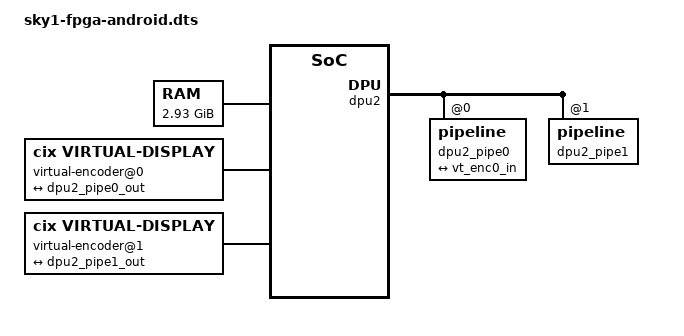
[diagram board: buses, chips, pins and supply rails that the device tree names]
/*
 * Copyright (c) 2022, Cix Technology Group Co., Ltd. All rights reserved.
 *
 * SPDX-License-Identifier: BSD-3-Clause
 */

#include "sky1-fpga.dts"
#include "sky1-android-common.dtsi"

/ {
	chosen {
		rng-seed = "cix random seed dasdasasdasdasvvjkdvsdvnkksdvfsdjfskdfsdfksdfsdhfsckscjscksdfjsdjf";
	};

	memory@80000000 {
		#address-cells = <2>;
		#size-cells = <2>;
		device_type = "memory";
		reg = <0x00000000 0x84400000 0x0 0x7BC00000>,
			<0x00000001 0x00000000 0x0 0x40000000>;
	};

	/delete-node/ virtual-encoder@0;

	virtual-encoder@0 {
		compatible = "cix,virtual-display";
		status = "okay";

		port {
			vt_enc0_in: endpoint {
				remote-endpoint = <&dpu2_pipe0_out>;
			};
		};
	};

	virtual-encoder@1 {
		compatible = "cix,virtual-display";
		status = "okay";

		port {
			vt_enc1_in: endpoint {
				remote-endpoint = <&dpu2_pipe1_out>;
			};
		};
	};
};

&dp2 {
	status = "disbaled";
	/delete-node/ port;
};

&aipu_res_0 {
        status = "disabled";
};

&dpu2 {
	status = "okay";

	dpu2_pipe0: pipeline@0 {
		reg = <0>;

		port {
			dpu2_pipe0_out: endpoint {
				remote-endpoint = <&vt_enc0_in>;
			};
		};
	};

	dpu2_pipe1: pipeline@1 {
		reg = <1>;

		port {
			dpu2_pipe1_out: endpoint {
			};
		};
	};
};

&arch_timer {
        clock-frequency = <1000000000>;
};

&smmu_mmhub{
	status = "okay";
};

&sky1_usbss_0 {
        lpm_clk_freq = <4000000>;
        sof_clk_freq = <4000000>;
        status = "disabled";
};

&usbss_0 {
        dr_mode = "peripheral";
        status = "disabled";
};

&its_pcie {
        status = "disabled";
};

&smmu_pciehub{
        status = "disabled";
};

&pcie_x4_rc {
       override-phy-rate;
       status = "disabled";
};
